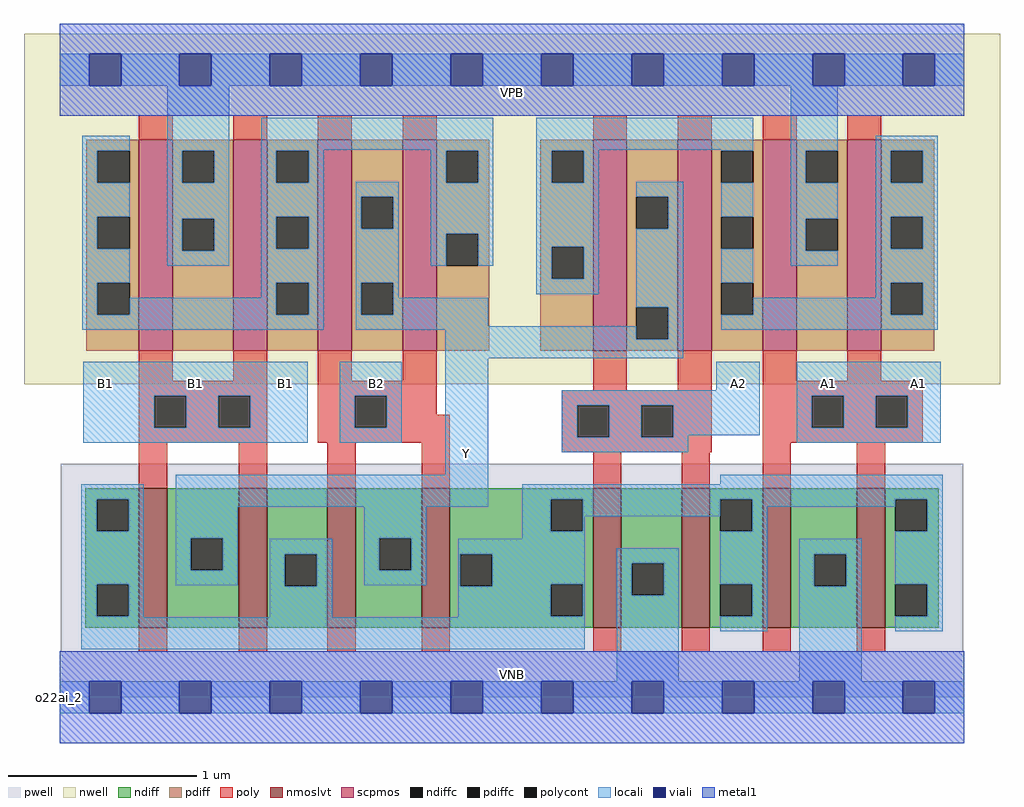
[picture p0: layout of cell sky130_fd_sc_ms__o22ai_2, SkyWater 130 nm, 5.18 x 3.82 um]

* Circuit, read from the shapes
.subckt sky130_fd_sc_ms__o22ai_2 A1 A2 B1 B2 VGND VNB VPB VPWR Y
XM1 Y B1 n1 VNB sky130_fd_pr__nfet_01v8_lvt w=0.74 l=0.15 m=2
XM2 Y B2 n1 VNB sky130_fd_pr__nfet_01v8_lvt w=0.74 l=0.15 m=2
XM3 VGND A2 n1 VNB sky130_fd_pr__nfet_01v8_lvt w=0.74 l=0.15 m=2
XM4 VGND A1 n1 VNB sky130_fd_pr__nfet_01v8_lvt w=0.74 l=0.15 m=2
XM5 VPWR B1 n2 VPB sky130_fd_pr__pfet_01v8 w=1.12 l=0.18 m=2
XM6 Y B2 n2 VPB sky130_fd_pr__pfet_01v8 w=1.12 l=0.18 m=2
XM7 Y A2 n3 VPB sky130_fd_pr__pfet_01v8 w=1.12 l=0.18 m=2
XM8 VPWR A1 n3 VPB sky130_fd_pr__pfet_01v8 w=1.12 l=0.18 m=2
.ends

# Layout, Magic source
magic
tech sky130A
magscale 1 2
<< nwell >>
rect -38 332 998 704
<< pwell >>
rect 1 49 959 248
rect 0 0 960 49
<< scpmos >>
rect 84 368 120 592
rect 184 368 220 592
rect 274 368 310 592
rect 364 368 400 592
rect 566 368 602 592
rect 656 368 692 592
rect 746 368 782 592
rect 836 368 872 592
<< nmoslvt >>
rect 84 74 114 222
rect 190 74 220 222
rect 284 74 314 222
rect 384 74 414 222
rect 566 74 596 222
rect 660 74 690 222
rect 746 74 776 222
rect 846 74 876 222
<< ndiff >>
rect 27 210 84 222
rect 27 176 39 210
rect 73 176 84 210
rect 27 120 84 176
rect 27 86 39 120
rect 73 86 84 120
rect 27 74 84 86
rect 114 169 190 222
rect 114 135 139 169
rect 173 135 190 169
rect 114 74 190 135
rect 220 152 284 222
rect 220 118 239 152
rect 273 118 284 152
rect 220 74 284 118
rect 314 169 384 222
rect 314 135 339 169
rect 373 135 384 169
rect 314 74 384 135
rect 414 210 566 222
rect 414 176 521 210
rect 555 176 566 210
rect 414 152 566 176
rect 414 118 425 152
rect 459 120 566 152
rect 459 118 521 120
rect 414 86 521 118
rect 555 86 566 120
rect 414 74 566 86
rect 596 142 660 222
rect 596 108 607 142
rect 641 108 660 142
rect 596 74 660 108
rect 690 210 746 222
rect 690 176 701 210
rect 735 176 746 210
rect 690 120 746 176
rect 690 86 701 120
rect 735 86 746 120
rect 690 74 746 86
rect 776 152 846 222
rect 776 118 801 152
rect 835 118 846 152
rect 776 74 846 118
rect 876 210 933 222
rect 876 176 887 210
rect 921 176 933 210
rect 876 120 933 176
rect 876 86 887 120
rect 921 86 933 120
rect 876 74 933 86
<< pdiff >>
rect 28 580 84 592
rect 28 546 40 580
rect 74 546 84 580
rect 28 510 84 546
rect 28 476 40 510
rect 74 476 84 510
rect 28 440 84 476
rect 28 406 40 440
rect 74 406 84 440
rect 28 368 84 406
rect 120 580 184 592
rect 120 546 130 580
rect 164 546 184 580
rect 120 508 184 546
rect 120 474 130 508
rect 164 474 184 508
rect 120 368 184 474
rect 220 580 274 592
rect 220 546 230 580
rect 264 546 274 580
rect 220 510 274 546
rect 220 476 230 510
rect 264 476 274 510
rect 220 440 274 476
rect 220 406 230 440
rect 264 406 274 440
rect 220 368 274 406
rect 310 531 364 592
rect 310 497 320 531
rect 354 497 364 531
rect 310 440 364 497
rect 310 406 320 440
rect 354 406 364 440
rect 310 368 364 406
rect 400 580 456 592
rect 400 546 410 580
rect 444 546 456 580
rect 400 492 456 546
rect 400 458 410 492
rect 444 458 456 492
rect 400 368 456 458
rect 510 580 566 592
rect 510 546 522 580
rect 556 546 566 580
rect 510 478 566 546
rect 510 444 522 478
rect 556 444 566 478
rect 510 368 566 444
rect 602 531 656 592
rect 602 497 612 531
rect 646 497 656 531
rect 602 414 656 497
rect 602 380 612 414
rect 646 380 656 414
rect 602 368 656 380
rect 692 580 746 592
rect 692 546 702 580
rect 736 546 746 580
rect 692 510 746 546
rect 692 476 702 510
rect 736 476 746 510
rect 692 440 746 476
rect 692 406 702 440
rect 736 406 746 440
rect 692 368 746 406
rect 782 580 836 592
rect 782 546 792 580
rect 826 546 836 580
rect 782 508 836 546
rect 782 474 792 508
rect 826 474 836 508
rect 782 368 836 474
rect 872 580 928 592
rect 872 546 882 580
rect 916 546 928 580
rect 872 510 928 546
rect 872 476 882 510
rect 916 476 928 510
rect 872 440 928 476
rect 872 406 882 440
rect 916 406 928 440
rect 872 368 928 406
<< ndiffc >>
rect 39 176 73 210
rect 39 86 73 120
rect 139 135 173 169
rect 239 118 273 152
rect 339 135 373 169
rect 521 176 555 210
rect 425 118 459 152
rect 521 86 555 120
rect 607 108 641 142
rect 701 176 735 210
rect 701 86 735 120
rect 801 118 835 152
rect 887 176 921 210
rect 887 86 921 120
<< pdiffc >>
rect 40 546 74 580
rect 40 476 74 510
rect 40 406 74 440
rect 130 546 164 580
rect 130 474 164 508
rect 230 546 264 580
rect 230 476 264 510
rect 230 406 264 440
rect 320 497 354 531
rect 320 406 354 440
rect 410 546 444 580
rect 410 458 444 492
rect 522 546 556 580
rect 522 444 556 478
rect 612 497 646 531
rect 612 380 646 414
rect 702 546 736 580
rect 702 476 736 510
rect 702 406 736 440
rect 792 546 826 580
rect 792 474 826 508
rect 882 546 916 580
rect 882 476 916 510
rect 882 406 916 440
<< poly >>
rect 84 592 120 618
rect 184 592 220 618
rect 274 592 310 618
rect 364 592 400 618
rect 566 592 602 618
rect 656 592 692 618
rect 746 592 782 618
rect 836 592 872 618
rect 84 336 120 368
rect 184 336 220 368
rect 84 320 220 336
rect 84 286 100 320
rect 134 286 168 320
rect 202 286 220 320
rect 84 270 220 286
rect 274 336 310 368
rect 364 336 400 368
rect 274 320 400 336
rect 566 326 602 368
rect 656 326 692 368
rect 274 286 313 320
rect 347 300 400 320
rect 533 310 692 326
rect 347 286 414 300
rect 274 270 414 286
rect 84 222 114 270
rect 190 222 220 270
rect 284 222 314 270
rect 384 222 414 270
rect 533 276 549 310
rect 583 276 617 310
rect 651 276 692 310
rect 533 260 692 276
rect 746 336 782 368
rect 836 336 872 368
rect 746 320 916 336
rect 746 286 798 320
rect 832 286 866 320
rect 900 286 916 320
rect 746 270 916 286
rect 566 222 596 260
rect 660 222 690 260
rect 746 222 776 270
rect 846 222 876 270
rect 84 48 114 74
rect 190 48 220 74
rect 284 48 314 74
rect 384 48 414 74
rect 566 48 596 74
rect 660 48 690 74
rect 746 48 776 74
rect 846 48 876 74
<< polycont >>
rect 100 286 134 320
rect 168 286 202 320
rect 313 286 347 320
rect 549 276 583 310
rect 617 276 651 310
rect 798 286 832 320
rect 866 286 900 320
<< locali >>
rect 0 649 31 683
rect 65 649 127 683
rect 161 649 223 683
rect 257 649 319 683
rect 353 649 415 683
rect 449 649 511 683
rect 545 649 607 683
rect 641 649 703 683
rect 737 649 799 683
rect 833 649 895 683
rect 929 649 960 683
rect 24 580 74 596
rect 24 546 40 580
rect 24 510 74 546
rect 24 476 40 510
rect 24 440 74 476
rect 114 580 180 649
rect 114 546 130 580
rect 164 546 180 580
rect 114 508 180 546
rect 114 474 130 508
rect 164 474 180 508
rect 114 458 180 474
rect 214 581 460 615
rect 214 580 280 581
rect 214 546 230 580
rect 264 546 280 580
rect 394 580 460 581
rect 214 510 280 546
rect 214 476 230 510
rect 264 476 280 510
rect 24 406 40 440
rect 214 440 280 476
rect 214 424 230 440
rect 74 406 230 424
rect 264 406 280 440
rect 24 390 280 406
rect 314 531 360 547
rect 314 497 320 531
rect 354 497 360 531
rect 314 440 360 497
rect 394 546 410 580
rect 444 546 460 580
rect 394 492 460 546
rect 394 458 410 492
rect 444 458 460 492
rect 506 581 736 615
rect 506 580 572 581
rect 506 546 522 580
rect 556 546 572 580
rect 702 580 736 581
rect 506 478 572 546
rect 314 406 320 440
rect 354 424 360 440
rect 506 444 522 478
rect 556 444 572 478
rect 506 428 572 444
rect 612 531 662 547
rect 646 497 662 531
rect 354 406 455 424
rect 314 394 455 406
rect 612 414 662 497
rect 314 390 612 394
rect 409 380 612 390
rect 646 380 662 414
rect 702 510 736 546
rect 702 440 736 476
rect 776 580 826 649
rect 776 546 792 580
rect 776 508 826 546
rect 776 474 792 508
rect 776 458 826 474
rect 866 580 932 596
rect 866 546 882 580
rect 916 546 932 580
rect 866 510 932 546
rect 866 476 882 510
rect 916 476 932 510
rect 866 440 932 476
rect 866 424 882 440
rect 736 406 882 424
rect 916 406 932 440
rect 702 390 932 406
rect 409 360 662 380
rect 25 320 263 356
rect 25 286 100 320
rect 134 286 168 320
rect 202 286 263 320
rect 25 270 263 286
rect 297 320 363 356
rect 297 286 313 320
rect 347 286 363 320
rect 297 270 363 286
rect 409 236 455 360
rect 697 326 743 356
rect 533 310 743 326
rect 533 276 549 310
rect 583 276 617 310
rect 651 278 743 310
rect 782 320 935 356
rect 782 286 798 320
rect 832 286 866 320
rect 900 286 935 320
rect 651 276 667 278
rect 533 260 667 276
rect 782 270 935 286
rect 23 210 89 226
rect 23 176 39 210
rect 73 176 89 210
rect 23 120 89 176
rect 23 86 39 120
rect 73 86 89 120
rect 123 202 455 236
rect 701 226 937 236
rect 491 210 937 226
rect 123 169 189 202
rect 123 135 139 169
rect 173 135 189 169
rect 323 169 389 202
rect 123 119 189 135
rect 223 152 289 168
rect 23 85 89 86
rect 223 118 239 152
rect 273 118 289 152
rect 323 135 339 169
rect 373 135 389 169
rect 491 176 521 210
rect 555 192 701 210
rect 555 176 557 192
rect 491 168 557 176
rect 323 119 389 135
rect 423 152 557 168
rect 735 202 887 210
rect 735 176 751 202
rect 223 85 289 118
rect 423 118 425 152
rect 459 120 557 152
rect 459 118 521 120
rect 423 86 521 118
rect 555 86 557 120
rect 423 85 557 86
rect 23 51 557 85
rect 591 142 657 158
rect 591 108 607 142
rect 641 108 657 142
rect 591 17 657 108
rect 701 120 751 176
rect 921 176 937 210
rect 735 86 751 120
rect 701 70 751 86
rect 785 152 851 168
rect 785 118 801 152
rect 835 118 851 152
rect 785 17 851 118
rect 887 120 937 176
rect 921 86 937 120
rect 887 70 937 86
rect 0 -17 31 17
rect 65 -17 127 17
rect 161 -17 223 17
rect 257 -17 319 17
rect 353 -17 415 17
rect 449 -17 511 17
rect 545 -17 607 17
rect 641 -17 703 17
rect 737 -17 799 17
rect 833 -17 895 17
rect 929 -17 960 17
<< viali >>
rect 31 649 65 683
rect 127 649 161 683
rect 223 649 257 683
rect 319 649 353 683
rect 415 649 449 683
rect 511 649 545 683
rect 607 649 641 683
rect 703 649 737 683
rect 799 649 833 683
rect 895 649 929 683
rect 31 -17 65 17
rect 127 -17 161 17
rect 223 -17 257 17
rect 319 -17 353 17
rect 415 -17 449 17
rect 511 -17 545 17
rect 607 -17 641 17
rect 703 -17 737 17
rect 799 -17 833 17
rect 895 -17 929 17
<< metal1 >>
rect 0 683 960 715
rect 0 649 31 683
rect 65 649 127 683
rect 161 649 223 683
rect 257 649 319 683
rect 353 649 415 683
rect 449 649 511 683
rect 545 649 607 683
rect 641 649 703 683
rect 737 649 799 683
rect 833 649 895 683
rect 929 649 960 683
rect 0 617 960 649
rect 0 17 960 49
rect 0 -17 31 17
rect 65 -17 127 17
rect 161 -17 223 17
rect 257 -17 319 17
rect 353 -17 415 17
rect 449 -17 511 17
rect 545 -17 607 17
rect 641 -17 703 17
rect 737 -17 799 17
rect 833 -17 895 17
rect 929 -17 960 17
rect 0 -49 960 -17
<< labels >>
flabel pwell s 0 0 960 49 0 FreeSans 200 0 0 0 VNB
port 6 nsew ground bidirectional
flabel nwell s 0 617 960 666 0 FreeSans 200 0 0 0 VPB
port 7 nsew power bidirectional
rlabel comment s 0 0 0 0 4 o22ai_2
flabel metal1 s 0 617 960 666 0 FreeSans 340 0 0 0 VPWR
port 8 nsew power bidirectional
flabel metal1 s 0 0 960 49 0 FreeSans 340 0 0 0 VGND
port 5 nsew ground bidirectional
flabel locali s 319 316 353 350 0 FreeSans 340 0 0 0 B2
port 4 nsew signal input
flabel locali s 31 316 65 350 0 FreeSans 340 0 0 0 B1
port 3 nsew signal input
flabel locali s 127 316 161 350 0 FreeSans 340 0 0 0 B1
port 3 nsew signal input
flabel locali s 223 316 257 350 0 FreeSans 340 0 0 0 B1
port 3 nsew signal input
flabel locali s 703 316 737 350 0 FreeSans 340 0 0 0 A2
port 2 nsew signal input
flabel locali s 799 316 833 350 0 FreeSans 340 0 0 0 A1
port 1 nsew signal input
flabel locali s 895 316 929 350 0 FreeSans 340 0 0 0 A1
port 1 nsew signal input
flabel locali s 415 242 449 276 0 FreeSans 340 0 0 0 Y
port 9 nsew signal output
<< properties >>
string LEFsite unit
string LEFclass CORE
string FIXED_BBOX 0 0 960 666
string GDS_FILE $PDKPATH/libs.ref/sky130_fd_sc_ms/gds/sky130_fd_sc_ms.gds
string LEFsymmetry X Y
string GDS_END 1236468
string GDS_START 1228038
<< end >>
